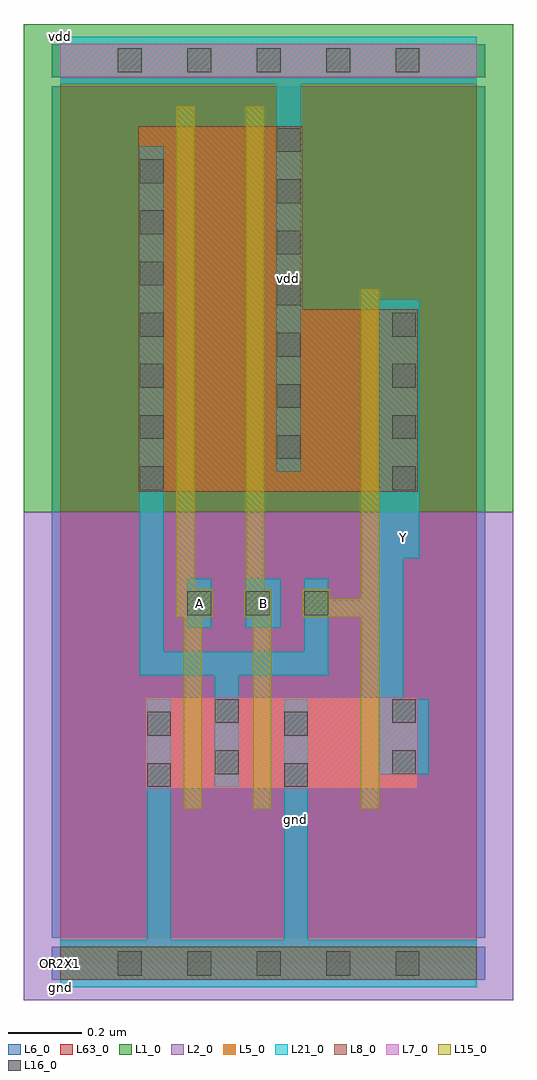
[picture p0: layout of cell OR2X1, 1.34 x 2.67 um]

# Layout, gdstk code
import gdstk
lib = gdstk.Library(unit=1e-6, precision=1e-09)
def R(c, l, rs):  # rectangles x0, y0, x1, y1
    for r in rs: c.add(gdstk.rectangle(r[:2], r[2:], *l))
def A(c, l, x, y, w, h, nx, ny, dx, dy):  # array of equal rectangles
    R(c, l, [(x+i*dx, y+j*dy, x+i*dx+w, y+j*dy+h) for i in range(nx) for j in range(ny)])
def P(c, l, *ps):  # polygons
    for p in ps: c.add(gdstk.Polygon(p, *l))
L1_0 = (1, 0)
L2_0 = (2, 0)
L5_0 = (5, 0)
L6_0 = (6, 0)
L7_0 = (7, 0)
L8_0 = (8, 0)
L15_0 = (15, 0)
L16_0 = (16, 0)
L21_0 = (21, 0)
L63_0 = (63, 0)

or2x1 = lib.new_cell('OR2X1')
R(or2x1, L1_0, [(-0.1,1.235,1.24,2.57)])
R(or2x1, L2_0, [(-0.1,-0.1,1.24,1.235)])
R(or2x1, L5_0, [(0,-0.045,1.14,0.045), (0.233,0.478,0.338,0.728), (0.338,0.478,0.388,0.728), (0.388,0.478,0.528,0.728), (0.528,0.478,0.578,0.728), (0.578,0.478,0.823,0.728), (0.823,0.478,0.873,0.728), (0.873,0.478,0.978,0.728), (0.213,1.29,0.318,2.29), (0.318,1.29,0.368,2.29), (0.368,1.29,0.508,2.29), (0.508,1.29,0.558,2.29), (0.823,1.29,0.873,1.79), (0.873,1.29,0.978,1.79), (0,2.425,1.14,2.515)])
P(or2x1, L5_0, [(0.663,1.79),(0.823,1.79),(0.823,1.29),(0.558,1.29),(0.558,2.29),(0.663,2.29)])
R(or2x1, L6_0, [(-0.023,-0.045,1.163,0.045), (-0.023,-0.045,1.163,0.045), (-0.023,0.07,1.163,1.235), (-0.023,1.235,1.163,2.4), (-0.023,2.425,1.163,2.515), (-0.023,2.425,1.163,2.515)])
R(or2x1, L7_0, [(0.233,0.478,0.338,0.728), (0.338,0.478,0.388,0.728), (0.388,0.478,0.528,0.728), (0.528,0.478,0.578,0.728), (0.578,0.478,0.823,0.728), (0.823,0.478,0.873,0.728), (0.873,0.478,0.978,0.728), (0,2.425,1.14,2.515)])
R(or2x1, L8_0, [(0,-0.045,1.14,0.045), (0.213,1.29,0.318,2.29), (0.318,1.29,0.368,2.29), (0.368,1.29,0.508,2.29), (0.508,1.29,0.558,2.29), (0.823,1.29,0.873,1.79), (0.873,1.29,0.978,1.79)])
P(or2x1, L8_0, [(0.663,1.79),(0.823,1.79),(0.823,1.29),(0.558,1.29),(0.558,2.29),(0.663,2.29)])
R(or2x1, L15_0, [(0.338,0.423,0.388,0.478), (0.528,0.423,0.578,0.478), (0.823,0.423,0.873,0.478), (0.338,0.478,0.388,0.728), (0.528,0.478,0.578,0.728), (0.823,0.478,0.873,0.728), (0.318,1.29,0.368,2.29), (0.508,1.29,0.558,2.29), (0.823,1.29,0.873,1.79), (0.823,1.79,0.873,1.845), (0.318,2.29,0.368,2.345), (0.508,2.29,0.558,2.345)])
P(or2x1, L15_0, [(0.338,0.948),(0.318,0.948),(0.318,1.29),(0.368,1.29),(0.368,1.023),(0.418,1.023),(0.418,0.948),(0.388,0.948),(0.388,0.728),(0.338,0.728)],
  [(0.528,0.948),(0.503,0.948),(0.503,1.023),(0.508,1.023),(0.508,1.29),(0.558,1.29),(0.558,1.023),(0.578,1.023),(0.578,0.728),(0.528,0.728)],
  [(0.823,0.948),(0.663,0.948),(0.663,1.023),(0.738,1.023),(0.738,0.998),(0.823,0.998),(0.823,1.29),(0.873,1.29),(0.873,0.728),(0.823,0.728)])
A(or2x1, L16_0, 0.158, -0.033, 0.065, 0.066, 5, 1, 0.19, 0)
A(or2x1, L16_0, 0.348, 0.953, 0.065, 0.065, 3, 1, 0.16, 0)
A(or2x1, L16_0, 0.218, 1.295, 0.065, 0.065, 1, 7, 0, 0.14)
A(or2x1, L16_0, 0.908, 1.295, 0.065, 0.065, 1, 4, 0, 0.14)
A(or2x1, L16_0, 0.593, 1.38, 0.065, 0.065, 1, 7, 0, 0.14)
A(or2x1, L16_0, 0.158, 2.438, 0.065, 0.065, 5, 1, 0.19, 0)
R(or2x1, L16_0, [(0.238,0.483,0.303,0.548), (0.613,0.483,0.678,0.548), (0.423,0.518,0.488,0.583), (0.908,0.518,0.973,0.583), (0.238,0.623,0.303,0.688), (0.613,0.623,0.678,0.688), (0.423,0.658,0.488,0.723), (0.908,0.658,0.973,0.723)])
R(or2x1, L21_0, [(0.348,0.918,0.413,1.053), (0.508,0.918,0.603,1.053)])
P(or2x1, L21_0, [(0,2.405),(0,2.535),(1.14,2.535),(1.14,2.405),(0.658,2.405),(0.658,1.345),(0.593,1.345),(0.593,2.405)],
  [(0,-0.065),(0,0.065),(0.238,0.065),(0.238,0.723),(0.303,0.723),(0.303,0.065),(0.613,0.065),(0.613,0.723),(0.678,0.723),(0.678,0.065),(1.14,0.065),(1.14,-0.065)],
  [(0.218,0.788),(0.218,2.235),(0.283,2.235),(0.283,0.853),(0.668,0.853),(0.668,1.053),(0.733,1.053),(0.733,0.788),(0.488,0.788),(0.488,0.483),(0.423,0.483),(0.423,0.788)],
  [(0.938,1.108),(0.938,0.723),(1.008,0.723),(1.008,0.518),(0.873,0.518),(0.873,1.815),(0.983,1.815),(0.983,1.108)])
R(or2x1, L63_0, [(0,0,1.14,2.47)])
or2x1.add(gdstk.Label('vdd', (0.625,1.875), layer=21, texttype=1))
or2x1.add(gdstk.Label('gnd', (0.645,0.394), layer=21, texttype=1))
or2x1.add(gdstk.Label('A', (0.38,0.985), layer=21, texttype=1))
or2x1.add(gdstk.Label('B', (0.555,0.985), layer=21, texttype=1))
or2x1.add(gdstk.Label('Y', (0.94,1.166), layer=21, texttype=1))
or2x1.add(gdstk.Label('vdd', (0,2.535), layer=21, texttype=2))
or2x1.add(gdstk.Label('gnd', (0,-0.065), layer=21, texttype=2))
or2x1.add(gdstk.Label('OR2X1', (0,0), layer=63, texttype=1))

lib.write_gds('OR2X1.gds')
